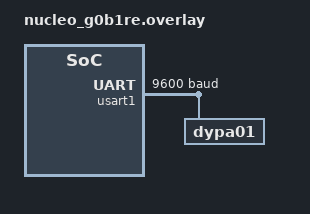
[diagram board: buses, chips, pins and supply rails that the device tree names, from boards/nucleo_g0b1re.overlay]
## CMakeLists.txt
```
# SPDX-License-Identifier: Apache-2.0

cmake_minimum_required(VERSION 3.20.0)
include($ENV{ZEPHYR_BASE}/cmake/app/boilerplate.cmake NO_POLICY_SCOPE)
project(mhz19b)

FILE(GLOB app_sources src/*.c)
target_sources(app PRIVATE ${app_sources})
```

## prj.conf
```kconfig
CONFIG_STDOUT_CONSOLE=y
CONFIG_SERIAL=y
CONFIG_UART_INTERRUPT_DRIVEN=y
CONFIG_SENSOR=y
CONFIG_DYPA01=y
CONFIG_SHELL=y
```

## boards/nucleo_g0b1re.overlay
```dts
/*
 * Copyright (c) 2021, G-Technologies Sdn. Bhd.
 *
 * SPDX-License-Identifier: Apache-2.0
 */

 &usart1 {
	current-speed = <9600>;
	dypa01 {
		compatible = "dypa01";
		label = "DYPA01";
	};
};
```

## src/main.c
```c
#include <zephyr/sys/printk.h>
#include <zephyr/drivers/sensor.h>


void main(void)
{
	const struct device *dev;
	struct sensor_value val;

	dev = device_get_binding("DYPA01");

	if (!device_is_ready(dev)) {
		printk("sensor: device not found.\n");
		return;
	}

	while (1) {

		if (sensor_sample_fetch(dev) != 0) {
			printk("sensor: sample fetch fail.\n");
		}

		if (sensor_channel_get(dev, SENSOR_CHAN_DISTANCE, &val) != 0) {
			printk("sensor: channel get fail.\n");
		}

		printk("sensor: distance reading: %d\n", val.val1);

		k_msleep(2000);
	}

}
```
